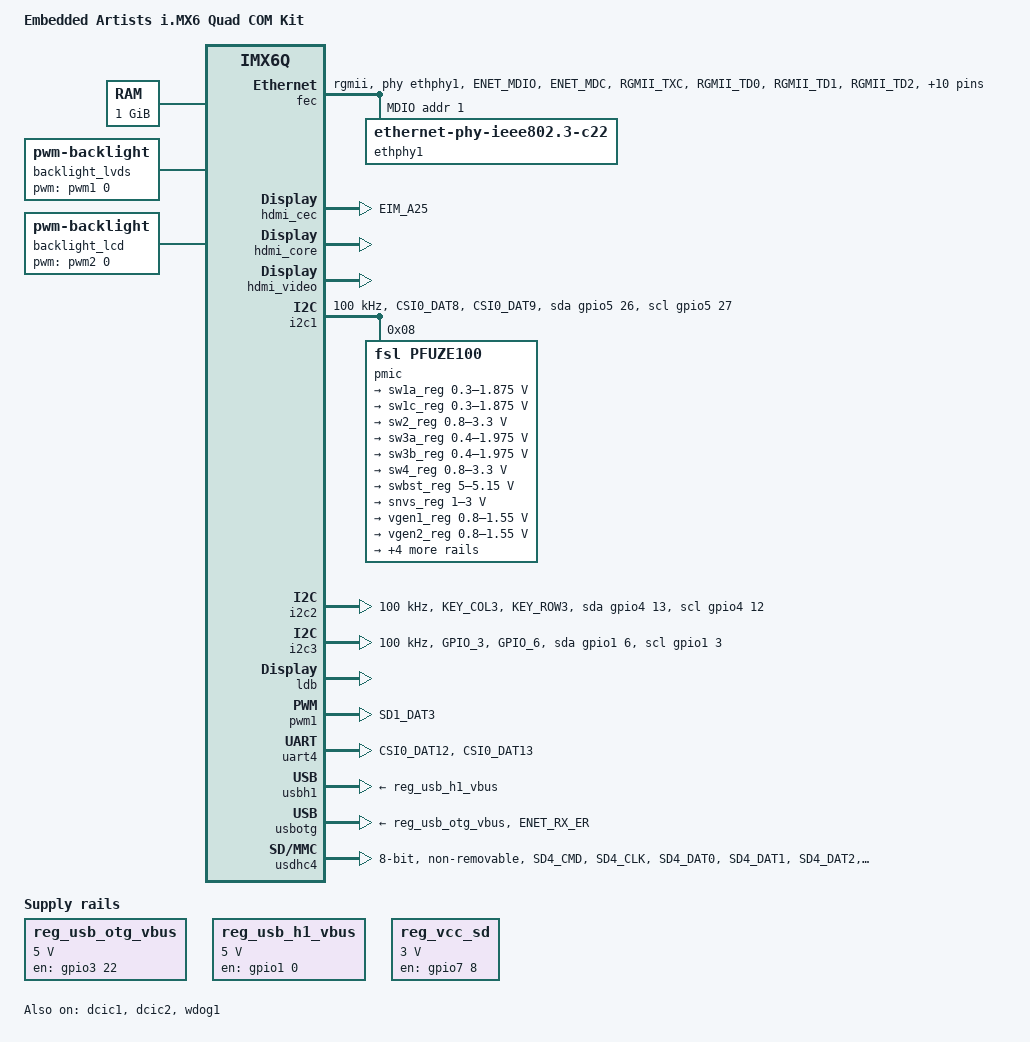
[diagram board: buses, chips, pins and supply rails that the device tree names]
/*
 * Copyright 2019 Embedded Artists AB
 *
 * SPDX-License-Identifier:	GPL-2.0+
 */

/dts-v1/;

#include "imx6q.dtsi"

#include <dt-bindings/gpio/gpio.h>
#include <dt-bindings/input/input.h>

/ {

        model = "Embedded Artists i.MX6 Quad COM Kit";
        compatible = "fsl,imx6qea-com", "fsl,imx6q";

	aliases {
                usdhc2 = &usdhc2;
                usdhc3 = &usdhc3;
		mxcfb0 = &mxcfb1;
		mxcfb1 = &mxcfb2;
		mxcfb2 = &mxcfb3;
		mxcfb3 = &mxcfb4;
	};

	chosen {
		stdout-path = &uart4;
	};

	memory: memory {
		reg = <0x10000000 0x40000000>;
	};

	regulators {
		compatible = "simple-bus";
		#address-cells = <1>;
		#size-cells = <0>;

		reg_usb_otg_vbus: regulator@0 {
			compatible = "regulator-fixed";
			reg = <0>;
			regulator-name = "usb_otg_vbus";
			regulator-min-microvolt = <5000000>;
			regulator-max-microvolt = <5000000>;
			gpio = <&gpio3 22 GPIO_ACTIVE_HIGH>;
			enable-active-high;
		};

		reg_usb_h1_vbus: regulator@1 {
			compatible = "regulator-fixed";
			reg = <1>;
			pinctrl-names = "default";
			pinctrl-0 = <&pinctrl_usb_h1>;
			regulator-name = "usb_h1_vbus";
			regulator-min-microvolt = <5000000>;
			regulator-max-microvolt = <5000000>;
			gpio = <&gpio1 0 GPIO_ACTIVE_HIGH>;
			enable-active-high;
		};

		/* For uSD/MMC socket on EA COM Base Board */
		reg_vcc_sd: regulator@2 {
			compatible = "regulator-fixed";
			reg = <2>;
			pinctrl-names = "default";
			pinctrl-0 = <&pinctrl_vcc_sd>;
			regulator-name = "VCC_SD3";
			regulator-min-microvolt = <3000000>;
			regulator-max-microvolt = <3000000>;
			gpio = <&gpio7 8 GPIO_ACTIVE_HIGH>;
			enable-active-high;
		};

	};

	mxcfb1: fb@0 {
		compatible = "fsl,mxc_sdc_fb";
		disp_dev = "ldb";
		interface_pix_fmt = "RGB666";
		default_bpp = <16>;
		int_clk = <0>;
		late_init = <0>;
		dispctrl-gpios = <&gpio3 20 GPIO_ACTIVE_HIGH>, <&gpio2 27 GPIO_ACTIVE_HIGH>;
		status = "disabled";
	};

	mxcfb2: fb@1 {
		compatible = "fsl,mxc_sdc_fb";
		disp_dev = "hdmi";
		interface_pix_fmt = "RGB24";
		mode_str ="1920x1080M@60";
		default_bpp = <24>;
		int_clk = <0>;
		late_init = <0>;
		status = "disabled";
	};

	mxcfb3: fb@2 {
		compatible = "fsl,mxc_sdc_fb";
		disp_dev = "lcd";
		interface_pix_fmt = "RGB24";
		mode_str ="EA7-WVGA";
		default_bpp = <32>;
		int_clk = <0>;
		late_init = <0>;
		dispctrl-gpios = <&gpio6 31 GPIO_ACTIVE_HIGH>, <&gpio5 0 GPIO_ACTIVE_HIGH>;
		status = "disabled";
	};

	mxcfb4: fb@3 {
		compatible = "fsl,mxc_sdc_fb";
		disp_dev = "ldb";
		interface_pix_fmt = "RGB666";
		default_bpp = <16>;
		int_clk = <0>;
		late_init = <0>;
		dispctrl-gpios = <&gpio6 31 GPIO_ACTIVE_HIGH>, <&gpio5 0 GPIO_ACTIVE_HIGH>;
		status = "disabled";
	};

	lcd@0 {
		compatible = "fsl,lcd";
		ipu_id = <0>;
		disp_id = <0>;
		default_ifmt = "RGB24";
		pinctrl-names = "default";
		pinctrl-0 = <&pinctrl_ipu1>;
		status = "okay";
	};

	/* Backlight for LVDS 0 and 1 */
	backlight_lvds: backlight1 {
		compatible = "pwm-backlight";
		pwms = <&pwm1 0 5000000>;
		brightness-levels = <0 4 8 16 32 64 128 255>;
		default-brightness-level = <7>;
		status = "okay";
	};

	/* Backlight for RGB */
	backlight_lcd: backlight2 {
		compatible = "pwm-backlight";
		pwms = <&pwm2 0 5000000>;
		brightness-levels = <0 4 8 16 32 64 128 255>;
		default-brightness-level = <7>;
		status = "okay";
	};

	v4l2_out {
		compatible = "fsl,mxc_v4l2_output";
		status = "okay";
	};

};

&cpu0 {
	arm-supply = <&sw1a_reg>;
	soc-supply = <&sw1c_reg>;
};

&fec {
	pinctrl-names = "default";
	pinctrl-0 = <&pinctrl_enet>;
	phy-mode = "rgmii";
	phy-reset-gpios = <&gpio1 25 GPIO_ACTIVE_LOW>;
	fsl,magic-packet;
	phy-handle = <&ethphy1>;
	status = "okay";


	mdio {
		#address-cells = <1>;
		#size-cells = <0>;

		ethphy1: ethernet-phy@1 {
			compatible = "ethernet-phy-ieee802.3-c22";
			reg = <1>;
		};
        };

};

&gpc {
	fsl,ldo-bypass = <1>;
	fsl,wdog-reset = <1>;
};

&dcic1 {
	dcic_id = <0>;
	dcic_mux = "dcic-hdmi";
	status = "okay";
};

&dcic2 {
	dcic_id = <1>;
	dcic_mux = "dcic-lvds1";
	status = "okay";
};

&hdmi_cec {
	pinctrl-names = "default";
	pinctrl-0 = <&pinctrl_hdmi_cec>;
	status = "okay";
};

&hdmi_core {
	ipu_id = <0>;
	disp_id = <1>;
	status = "okay";
};

&hdmi_video {
	fsl,phy_reg_vlev = <0x0294>;
	fsl,phy_reg_cksymtx = <0x800d>;
	status = "okay";
};

&i2c1 {
	clock-frequency = <100000>;
	pinctrl-names = "default", "gpio";
	pinctrl-0 = <&pinctrl_i2c1>;
	pinctrl-1 = <&pinctrl_i2c1_gpio>;
	scl-gpios = <&gpio5 27 GPIO_ACTIVE_HIGH>;
	sda-gpios = <&gpio5 26 GPIO_ACTIVE_HIGH>;
	status = "okay";

	pmic: pfuze100@8 {
		compatible = "fsl,pfuze100";
		reg = <0x08>;

		regulators {
			sw1a_reg: sw1ab {
				regulator-min-microvolt = <300000>;
				regulator-max-microvolt = <1875000>;
				regulator-boot-on;
				regulator-always-on;
				regulator-ramp-delay = <6250>;
			};

			sw1c_reg: sw1c {
				regulator-min-microvolt = <300000>;
				regulator-max-microvolt = <1875000>;
				regulator-boot-on;
				regulator-always-on;
				regulator-ramp-delay = <6250>;
			};

			sw2_reg: sw2 {
				regulator-min-microvolt = <800000>;
				regulator-max-microvolt = <3300000>;
				regulator-boot-on;
				regulator-always-on;
			};

			sw3a_reg: sw3a {
				regulator-min-microvolt = <400000>;
				regulator-max-microvolt = <1975000>;
				regulator-boot-on;
				regulator-always-on;
			};

			sw3b_reg: sw3b {
				regulator-min-microvolt = <400000>;
				regulator-max-microvolt = <1975000>;
				regulator-boot-on;
				regulator-always-on;
			};

			sw4_reg: sw4 {
				regulator-min-microvolt = <800000>;
				regulator-max-microvolt = <3300000>;
			};

			swbst_reg: swbst {
				regulator-min-microvolt = <5000000>;
				regulator-max-microvolt = <5150000>;
			};

			snvs_reg: vsnvs {
				regulator-min-microvolt = <1000000>;
				regulator-max-microvolt = <3000000>;
				regulator-boot-on;
				regulator-always-on;
			};

			vref_reg: vrefddr {
				regulator-boot-on;
				regulator-always-on;
			};

			vgen1_reg: vgen1 {
				regulator-min-microvolt = <800000>;
				regulator-max-microvolt = <1550000>;
			};

			vgen2_reg: vgen2 {
				regulator-min-microvolt = <800000>;
				regulator-max-microvolt = <1550000>;
			};

			vgen3_reg: vgen3 {
				regulator-min-microvolt = <1800000>;
				regulator-max-microvolt = <3300000>;
			};

			vgen4_reg: vgen4 {
				regulator-min-microvolt = <1800000>;
				regulator-max-microvolt = <3300000>;
				regulator-always-on;
			};

			vgen5_reg: vgen5 {
				regulator-min-microvolt = <1800000>;
				regulator-max-microvolt = <3300000>;
				regulator-always-on;
			};

			vgen6_reg: vgen6 {
				regulator-min-microvolt = <1800000>;
				regulator-max-microvolt = <3300000>;
				regulator-always-on;
			};
		};
	};


};

&i2c2 {
	clock-frequency = <100000>;
	pinctrl-names = "default", "gpio";
	pinctrl-0 = <&pinctrl_i2c2>;
	pinctrl-1 = <&pinctrl_i2c2_gpio>;
	scl-gpios = <&gpio4 12 GPIO_ACTIVE_HIGH>;
	sda-gpios = <&gpio4 13 GPIO_ACTIVE_HIGH>;
	status = "okay";
};

&i2c3 {
	clock-frequency = <100000>;
	pinctrl-names = "default", "gpio";
	pinctrl-0 = <&pinctrl_i2c3>;
	pinctrl-1 = <&pinctrl_i2c3_gpio>;
	scl-gpios = <&gpio1 3 GPIO_ACTIVE_HIGH>;
	sda-gpios = <&gpio1 6 GPIO_ACTIVE_HIGH>;
	status = "okay";
};


&iomuxc {
	pinctrl-names = "default";
	pinctrl-0 = <&pinctrl_hog>;

	imx6qea-com {
		pinctrl_hog: hoggrp {
			fsl,pins = <
				MX6QDL_PAD_EIM_D22__GPIO3_IO22  0x80000000
				MX6QDL_PAD_ENET_CRS_DV__GPIO1_IO25 0x80000000
				MX6QDL_PAD_EIM_D23__GPIO3_IO23 0x80000000
				MX6QDL_PAD_GPIO_9__WDOG1_B 	0x80000000
			>;
		};

		pinctrl_enet: enetgrp {
			fsl,pins = <
				MX6QDL_PAD_ENET_MDIO__ENET_MDIO		0x1b0b0
				MX6QDL_PAD_ENET_MDC__ENET_MDC		0x1b0b0
				MX6QDL_PAD_RGMII_TXC__RGMII_TXC		0x1b0b0
				MX6QDL_PAD_RGMII_TD0__RGMII_TD0		0x1b0b0
				MX6QDL_PAD_RGMII_TD1__RGMII_TD1		0x1b0b0
				MX6QDL_PAD_RGMII_TD2__RGMII_TD2		0x1b0b0
				MX6QDL_PAD_RGMII_TD3__RGMII_TD3		0x1b0b0
				MX6QDL_PAD_RGMII_TX_CTL__RGMII_TX_CTL	0x1b0b0
				MX6QDL_PAD_ENET_REF_CLK__ENET_TX_CLK	0x1b0b0
				MX6QDL_PAD_RGMII_RXC__RGMII_RXC		0x1b0b0
				MX6QDL_PAD_RGMII_RD0__RGMII_RD0		0x1b0b0
				MX6QDL_PAD_RGMII_RD1__RGMII_RD1		0x1b0b0
				MX6QDL_PAD_RGMII_RD2__RGMII_RD2		0x1b0b0
				MX6QDL_PAD_RGMII_RD3__RGMII_RD3		0x1b0b0
				MX6QDL_PAD_RGMII_RX_CTL__RGMII_RX_CTL	0x1b0b0
				/*MX6QDL_PAD_GPIO_16__ENET_REF_CLK	0x4001b0a8*/
			>;
		};

		pinctrl_enet_irq: enetirqgrp {
			fsl,pins = <
				MX6QDL_PAD_ENET_TXD0__GPIO1_IO30	0x000b1
			>;
		};

		pinctrl_hdmi_cec: hdmicecgrp {
			fsl,pins = <
				MX6QDL_PAD_EIM_A25__HDMI_TX_CEC_LINE 0x1f8b0
			>;
		};

		pinctrl_hdmi_hdcp: hdmihdcpgrp {
			fsl,pins = <
				MX6QDL_PAD_KEY_COL3__HDMI_TX_DDC_SCL 0x4001b8b1
				MX6QDL_PAD_KEY_ROW3__HDMI_TX_DDC_SDA 0x4001b8b1
			>;
		};

		pinctrl_i2c1: i2c1grp {
			fsl,pins = <
				MX6QDL_PAD_CSI0_DAT8__I2C1_SDA		0x4001b8b1
				MX6QDL_PAD_CSI0_DAT9__I2C1_SCL		0x4001b8b1
			>;
		};

		pinctrl_i2c1_gpio: i2c1grp_gpio {
			fsl,pins = <
				MX6QDL_PAD_CSI0_DAT8__GPIO5_IO26        0x1b8b1
				MX6QDL_PAD_CSI0_DAT9__GPIO5_IO27        0x1b8b1
			>;
		};

		pinctrl_i2c2: i2c2grp {
			fsl,pins = <
				MX6QDL_PAD_KEY_COL3__I2C2_SCL		0x4001b8b1
				MX6QDL_PAD_KEY_ROW3__I2C2_SDA		0x4001b8b1
			>;
		};

		pinctrl_i2c2_gpio: i2c2grp_gpio {
			fsl,pins = <
				MX6QDL_PAD_KEY_COL3__GPIO4_IO12         0x1b8b1
				MX6QDL_PAD_KEY_ROW3__GPIO4_IO13         0x1b8b1
			>;
		};

		pinctrl_i2c3: i2c3grp {
			fsl,pins = <
				MX6QDL_PAD_GPIO_3__I2C3_SCL		0x4001b8b1
				MX6QDL_PAD_GPIO_6__I2C3_SDA		0x4001b8b1
			>;
		};

		pinctrl_i2c3_gpio: i2c3grp_gpio {
                        fsl,pins = <
                                MX6QDL_PAD_GPIO_3__GPIO1_IO03           0x1b8b1
                                MX6QDL_PAD_GPIO_6__GPIO1_IO06           0x1b8b1
                        >;
                };

		pinctrl_ipu1: ipu1grp {
			fsl,pins = <
				MX6QDL_PAD_DI0_DISP_CLK__IPU1_DI0_DISP_CLK 0x10
				MX6QDL_PAD_DI0_PIN15__IPU1_DI0_PIN15       0x10
				MX6QDL_PAD_DI0_PIN2__IPU1_DI0_PIN02        0x10
				MX6QDL_PAD_DI0_PIN3__IPU1_DI0_PIN03        0x10
				MX6QDL_PAD_DI0_PIN4__IPU1_DI0_PIN04        0x80000000
				MX6QDL_PAD_DISP0_DAT0__IPU1_DISP0_DATA00   0x10
				MX6QDL_PAD_DISP0_DAT1__IPU1_DISP0_DATA01   0x10
				MX6QDL_PAD_DISP0_DAT2__IPU1_DISP0_DATA02   0x10
				MX6QDL_PAD_DISP0_DAT3__IPU1_DISP0_DATA03   0x10
				MX6QDL_PAD_DISP0_DAT4__IPU1_DISP0_DATA04   0x10
				MX6QDL_PAD_DISP0_DAT5__IPU1_DISP0_DATA05   0x10
				MX6QDL_PAD_DISP0_DAT6__IPU1_DISP0_DATA06   0x10
				MX6QDL_PAD_DISP0_DAT7__IPU1_DISP0_DATA07   0x10
				MX6QDL_PAD_DISP0_DAT8__IPU1_DISP0_DATA08   0x10
				MX6QDL_PAD_DISP0_DAT9__IPU1_DISP0_DATA09   0x10
				MX6QDL_PAD_DISP0_DAT10__IPU1_DISP0_DATA10  0x10
				MX6QDL_PAD_DISP0_DAT11__IPU1_DISP0_DATA11  0x10
				MX6QDL_PAD_DISP0_DAT12__IPU1_DISP0_DATA12  0x10
				MX6QDL_PAD_DISP0_DAT13__IPU1_DISP0_DATA13  0x10
				MX6QDL_PAD_DISP0_DAT14__IPU1_DISP0_DATA14  0x10
				MX6QDL_PAD_DISP0_DAT15__IPU1_DISP0_DATA15  0x10
				MX6QDL_PAD_DISP0_DAT16__IPU1_DISP0_DATA16  0x10
				MX6QDL_PAD_DISP0_DAT17__IPU1_DISP0_DATA17  0x10
				MX6QDL_PAD_DISP0_DAT18__IPU1_DISP0_DATA18  0x10
				MX6QDL_PAD_DISP0_DAT19__IPU1_DISP0_DATA19  0x10
				MX6QDL_PAD_DISP0_DAT20__IPU1_DISP0_DATA20  0x10
				MX6QDL_PAD_DISP0_DAT21__IPU1_DISP0_DATA21  0x10
				MX6QDL_PAD_DISP0_DAT22__IPU1_DISP0_DATA22  0x10
				MX6QDL_PAD_DISP0_DAT23__IPU1_DISP0_DATA23  0x10
			>;
		};

		pinctrl_pwm1: pwm1grp {
			fsl,pins = <
				MX6QDL_PAD_SD1_DAT3__PWM1_OUT		0x1b0b1
			>;
		};

		pinctrl_uart4: uart4grp {
			fsl,pins = <
				MX6QDL_PAD_CSI0_DAT12__UART4_TX_DATA	0x1b0b1
				MX6QDL_PAD_CSI0_DAT13__UART4_RX_DATA	0x1b0b1
			>;
		};

		pinctrl_usbotg: usbotggrp {
			fsl,pins = <
				MX6QDL_PAD_ENET_RX_ER__USB_OTG_ID	0x17059
			>;
		};

		pinctrl_usdhc2: usdhc2grp {
			fsl,pins = <
				MX6QDL_PAD_SD2_CMD__SD2_CMD		0x17059
				MX6QDL_PAD_SD2_CLK__SD2_CLK		0x10059
				MX6QDL_PAD_SD2_DAT0__SD2_DATA0		0x17059
				MX6QDL_PAD_SD2_DAT1__SD2_DATA1		0x17059
				MX6QDL_PAD_SD2_DAT2__SD2_DATA2		0x17059
				MX6QDL_PAD_SD2_DAT3__SD2_DATA3		0x17059
				MX6QDL_PAD_NANDF_WP_B__GPIO6_IO09	0x17059
			>;
		};

		pinctrl_usdhc3: usdhc3grp {
			fsl,pins = <
				MX6QDL_PAD_SD3_CMD__SD3_CMD		0x17069
				MX6QDL_PAD_SD3_CLK__SD3_CLK		0x10069
				MX6QDL_PAD_SD3_DAT0__SD3_DATA0		0x17069
				MX6QDL_PAD_SD3_DAT1__SD3_DATA1		0x17069
				MX6QDL_PAD_SD3_DAT2__SD3_DATA2		0x17069
				MX6QDL_PAD_SD3_DAT3__SD3_DATA3		0x17069
				MX6QDL_PAD_NANDF_WP_B__GPIO6_IO09	0x17069
			>;
		};

		pinctrl_usdhc4: usdhc4grp {
			fsl,pins = <
				MX6QDL_PAD_SD4_CMD__SD4_CMD		0x17059
				MX6QDL_PAD_SD4_CLK__SD4_CLK		0x10059
				MX6QDL_PAD_SD4_DAT0__SD4_DATA0		0x17059
				MX6QDL_PAD_SD4_DAT1__SD4_DATA1		0x17059
				MX6QDL_PAD_SD4_DAT2__SD4_DATA2		0x17059
				MX6QDL_PAD_SD4_DAT3__SD4_DATA3		0x17059
				MX6QDL_PAD_SD4_DAT4__SD4_DATA4		0x17059
				MX6QDL_PAD_SD4_DAT5__SD4_DATA5		0x17059
				MX6QDL_PAD_SD4_DAT6__SD4_DATA6		0x17059
				MX6QDL_PAD_SD4_DAT7__SD4_DATA7		0x17059
			>;
		};

		pinctrl_usb_h1: usbh1grp {
			fsl,pins = <
				MX6QDL_PAD_GPIO_0__GPIO1_IO00	0x1b0b0
			>;
		};

		pinctrl_vcc_sd: vccsd3grp {
			fsl,pins = <
				MX6QDL_PAD_SD3_RST__GPIO7_IO08			0x17059
			>;
		};

	};
};

&ldb {
	status = "okay";

	lvds-channel@0 {
		fsl,data-mapping = "spwg";
		fsl,data-width = <18>;
		status = "okay";

		display-timings {
			native-mode = <&t_lvds>;
			t_lvds: t_lvds_default {
				/* values may be changed in bootscript */
				clock-frequency = <65000000>;
				hactive = <1024>;
				vactive = <768>;
				hback-porch = <220>;
				hfront-porch = <40>;
				vback-porch = <21>;
				vfront-porch = <7>;
				hsync-len = <60>;
				vsync-len = <10>;
			};
		};
	};

	lvds-channel@1 {
		fsl,data-mapping = "spwg";
		fsl,data-width = <18>;
		primary;
		status = "okay";

		display-timings {
			native-mode = <&t_lvds2>;
			t_lvds2: t_lvds2_default {
				/* values may be changed in bootscript */
				clock-frequency = <65000000>;
				hactive = <1024>;
				vactive = <768>;
				hback-porch = <220>;
				hfront-porch = <40>;
				vback-porch = <21>;
				vfront-porch = <7>;
				hsync-len = <60>;
				vsync-len = <10>;
			};
		};
	};
};

&mipi_dsi {
	dev_id = <0>;
	disp_id = <1>;
	lcd_panel = "TRULY-WVGA";
	status = "disabled";
};

&pwm1 {
	pinctrl-names = "default";
	pinctrl-0 = <&pinctrl_pwm1>;
	status = "okay";
};

&uart4 {
	pinctrl-names = "default";
	pinctrl-0 = <&pinctrl_uart4>;
	status = "okay";
};

&usbh1 {
	vbus-supply = <&reg_usb_h1_vbus>;
	status = "okay";
};

&usbotg {
	vbus-supply = <&reg_usb_otg_vbus>;
	pinctrl-names = "default";
	pinctrl-0 = <&pinctrl_usbotg>;
	disable-over-current;
	status = "okay";
};

/*
 * usdhc2 / usdhc3 is being enabled in the board file depending on if
 * a V1 or V2 carrier board is being used.
 */

/* For uSD socket on COM Carrier Board V1 */
&usdhc2 {
	pinctrl-names = "default";
	pinctrl-0 = <&pinctrl_usdhc2>;
	bus-width = <4>;
	vmmc-supply = <&reg_vcc_sd>;
	cd-gpios = <&gpio6 9 GPIO_ACTIVE_LOW>;
	no-1-8-v;
	keep-power-in-suspend;
	enable-sdio-wakeup;
	status = "disabled";
};

/* For uSD socket on COM Carrier Board V2 */
&usdhc3 {
	pinctrl-names = "default";
	pinctrl-0 = <&pinctrl_usdhc3>;
	bus-width = <4>;
	vmmc-supply = <&reg_vcc_sd>;
	cd-gpios = <&gpio6 9 GPIO_ACTIVE_LOW>;
	no-1-8-v;
	keep-power-in-suspend;
	enable-sdio-wakeup;
	status = "disabled";
};

/* eMMC */
&usdhc4 {
	pinctrl-names = "default";
	pinctrl-0 = <&pinctrl_usdhc4>;
	bus-width = <8>;
	non-removable;
	no-1-8-v;
	keep-power-in-suspend;
	status = "okay";
};

&wdog1 {
	status = "okay";
};

&wdog2 {
	status = "disabled";
};

